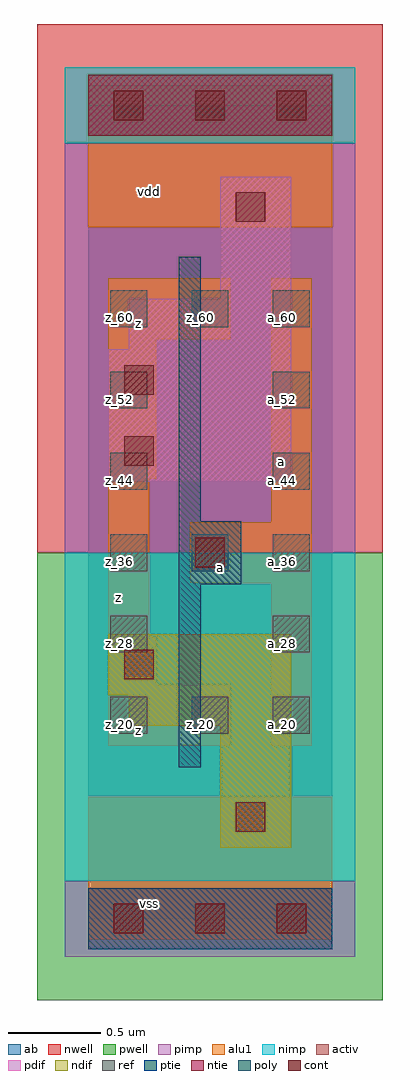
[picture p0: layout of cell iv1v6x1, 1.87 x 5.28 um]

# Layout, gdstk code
import gdstk
lib = gdstk.Library(unit=1e-6, precision=2.5e-09)
def R(c, l, rs):  # rectangles x0, y0, x1, y1
    for r in rs: c.add(gdstk.rectangle(r[:2], r[2:], *l))
def A(c, l, x, y, w, h, nx, ny, dx, dy):  # array of equal rectangles
    R(c, l, [(x+i*dx, y+j*dy, x+i*dx+w, y+j*dy+h) for i in range(nx) for j in range(ny)])
ndif = (3, 0)
pdif = (4, 0)
ntie = (5, 0)
ptie = (6, 0)
ref = (24, 0)
cont = (25, 0)
pwell = (41, 0)
nwell = (42, 0)
activ = (43, 0)
pimp = (44, 0)
nimp = (45, 0)
poly = (46, 0)
alu1 = (49, 0)
ab = (63, 0)

iv1v6x1 = lib.new_cell('iv1v6x1')
R(iv1v6x1, ndif, [(0.715,0.385,1.1,1.045), (0.22,1.045,1.1,1.21), (0.11,1.21,1.1,1.54)])
R(iv1v6x1, pdif, [(0.11,2.365,1.1,3.08), (0.22,3.08,1.1,3.355), (0.715,3.355,1.1,4.015)])
R(iv1v6x1, ntie, [(0,4.235,1.32,4.565)])
R(iv1v6x1, ptie, [(0,-0.165,1.32,0.165)])
A(iv1v6x1, ref, 0.12, 1, 0.2, 0.2, 3, 2, 0.44, 0.88)
A(iv1v6x1, ref, 0.12, 3.2, 0.2, 0.2, 3, 1, 0.44, 0)
R(iv1v6x1, ref, [(0.12,1.44,0.32,1.64), (1,1.44,1.2,1.64), (0.12,2.32,0.32,2.52), (1,2.32,1.2,2.52), (0.12,2.76,0.32,2.96), (1,2.76,1.2,2.96)])
A(iv1v6x1, cont, 0.14, -0.08, 0.16, 0.16, 3, 2, 0.44, 4.4)
R(iv1v6x1, cont, [(0.8,0.47,0.96,0.63), (0.195,1.295,0.355,1.455), (0.58,1.9,0.74,2.06), (0.195,2.45,0.355,2.61), (0.195,2.835,0.355,2.995), (0.8,3.77,0.96,3.93)])
R(iv1v6x1, pwell, [(-0.275,-0.44,1.595,1.98)])
R(iv1v6x1, nwell, [(-0.275,1.98,1.595,4.84)])
R(iv1v6x1, activ, [(0,-0.165,1.32,0.165), (0.715,0.385,1.1,1.045), (0.22,1.045,1.1,1.21), (0.11,1.21,1.1,1.54), (0.11,2.365,1.1,3.08), (0.22,3.08,1.1,3.355), (0.715,3.355,1.1,4.015), (0,4.235,1.32,4.565)])
R(iv1v6x1, pimp, [(-0.125,-0.205,1.445,0.205), (-0.125,1.98,1.445,4.195)])
R(iv1v6x1, nimp, [(-0.125,0.205,1.445,1.98), (-0.125,4.195,1.445,4.605)])
R(iv1v6x1, poly, [(0.49,0.82,0.61,1.81), (0.49,1.81,0.83,2.15), (0.49,2.15,0.61,3.58)])
R(iv1v6x1, alu1, [(0,-0.11,1.32,0.66), (0.11,0.935,0.77,1.265), (0.99,0.935,1.21,1.815), (0.11,1.265,0.37,1.525), (0.11,1.525,0.33,2.38), (0.55,1.815,1.21,2.145), (0.99,2.145,1.21,3.465), (0.11,2.38,0.37,3.135), (0.11,3.135,0.77,3.465), (0,3.74,1.32,4.51)])
R(iv1v6x1, ab, [(0,0,1.32,4.4)])
iv1v6x1.add(gdstk.Label('vss', (0.33,0.0825), layer=49, texttype=0))
iv1v6x1.add(gdstk.Label('z', (0.275,1.0175), layer=49, texttype=0))
iv1v6x1.add(gdstk.Label('a', (0.715,1.8975), layer=49, texttype=0))
iv1v6x1.add(gdstk.Label('a', (1.045,2.475), layer=49, texttype=0))
iv1v6x1.add(gdstk.Label('z', (0.165,1.7375), layer=49, texttype=0))
iv1v6x1.add(gdstk.Label('z', (0.275,3.2175), layer=49, texttype=0))
iv1v6x1.add(gdstk.Label('vdd', (0.33,3.9325), layer=49, texttype=0))
iv1v6x1.add(gdstk.Label('z_20', (0.61,1.05), layer=24, texttype=0))
iv1v6x1.add(gdstk.Label('a_36', (0.61,1.93), layer=24, texttype=0))
iv1v6x1.add(gdstk.Label('z_60', (0.61,3.25), layer=24, texttype=0))
iv1v6x1.add(gdstk.Label('a_20', (1.05,1.05), layer=24, texttype=0))
iv1v6x1.add(gdstk.Label('a_28', (1.05,1.49), layer=24, texttype=0))
iv1v6x1.add(gdstk.Label('a_36', (1.05,1.93), layer=24, texttype=0))
iv1v6x1.add(gdstk.Label('a_44', (1.05,2.37), layer=24, texttype=0))
iv1v6x1.add(gdstk.Label('a_52', (1.05,2.81), layer=24, texttype=0))
iv1v6x1.add(gdstk.Label('a_60', (1.05,3.25), layer=24, texttype=0))
iv1v6x1.add(gdstk.Label('z_20', (0.17,1.05), layer=24, texttype=0))
iv1v6x1.add(gdstk.Label('z_28', (0.17,1.49), layer=24, texttype=0))
iv1v6x1.add(gdstk.Label('z_36', (0.17,1.93), layer=24, texttype=0))
iv1v6x1.add(gdstk.Label('z_44', (0.17,2.37), layer=24, texttype=0))
iv1v6x1.add(gdstk.Label('z_52', (0.17,2.81), layer=24, texttype=0))
iv1v6x1.add(gdstk.Label('z_60', (0.17,3.25), layer=24, texttype=0))

lib.write_gds('iv1v6x1.gds')
